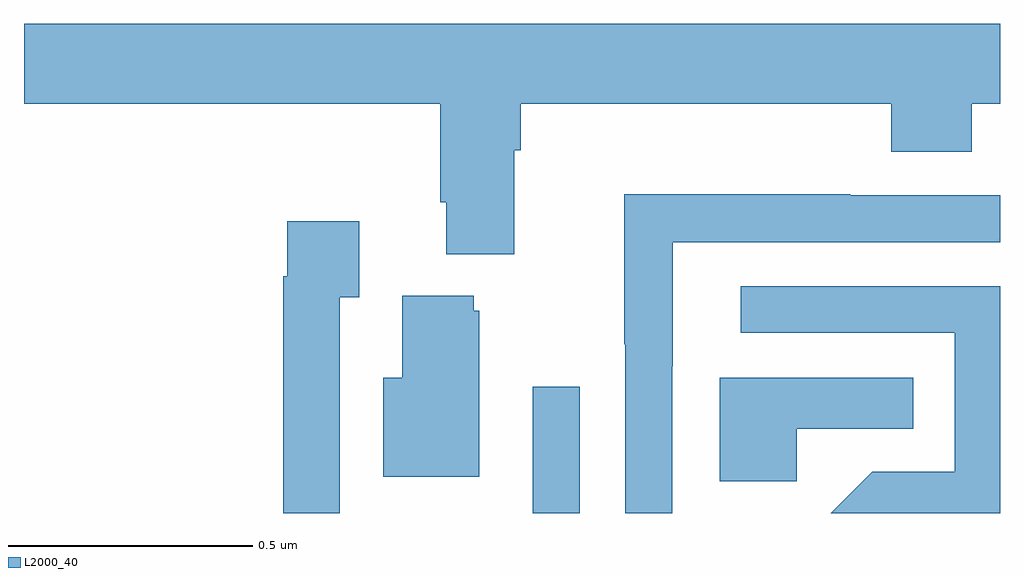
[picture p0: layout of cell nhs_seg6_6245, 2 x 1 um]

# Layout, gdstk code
import gdstk
lib = gdstk.Library(unit=1e-6, precision=1e-09)
def R(c, l, rs):  # rectangles x0, y0, x1, y1
    for r in rs: c.add(gdstk.rectangle(r[:2], r[2:], *l))
def P(c, l, *ps):  # polygons
    for p in ps: c.add(gdstk.Polygon(p, *l))
L2000_40 = (2000, 40)

nhs_seg6_6245 = lib.new_cell('nhs_seg6_6245')
R(nhs_seg6_6245, L2000_40, [(194.043,942.5,194.139,942.76)])
P(nhs_seg6_6245, L2000_40, [(194.005,943.244),(194.018,943.244),(194.018,943.34),(194.777,943.34),(194.777,943.241),(194.942,943.241),(194.942,943.34),(195,943.34),(195,943.504),(193,943.504),(193,943.34),(193.853,943.34),(193.853,943.138),(193.865,943.138),(193.865,943.031),(194.005,943.031)],
  [(194.328,942.802),(194.329,942.802),(194.329,943.056),(195,943.056),(195,943.152),(194.693,943.152),(194.693,943.154),(194.23,943.154),(194.23,942.847),(194.232,942.847),(194.232,942.5),(194.328,942.5)],
  [(193.647,942.943),(193.687,942.943),(193.687,943.099),(193.539,943.099),(193.539,942.986),(193.531,942.986),(193.531,942.5),(193.647,942.5)],
  [(195,942.966),(194.469,942.966),(194.469,942.87),(194.907,942.87),(194.907,942.585),(194.738,942.585),(194.653,942.5),(195,942.5)],
  [(193.933,942.915),(193.922,942.915),(193.922,942.946),(193.775,942.946),(193.775,942.778),(193.736,942.778),(193.736,942.575),(193.933,942.575)],
  [(194.583,942.674),(194.822,942.674),(194.822,942.778),(194.426,942.778),(194.426,942.566),(194.583,942.566)])

lib.write_gds('nhs_seg6_6245.gds')
